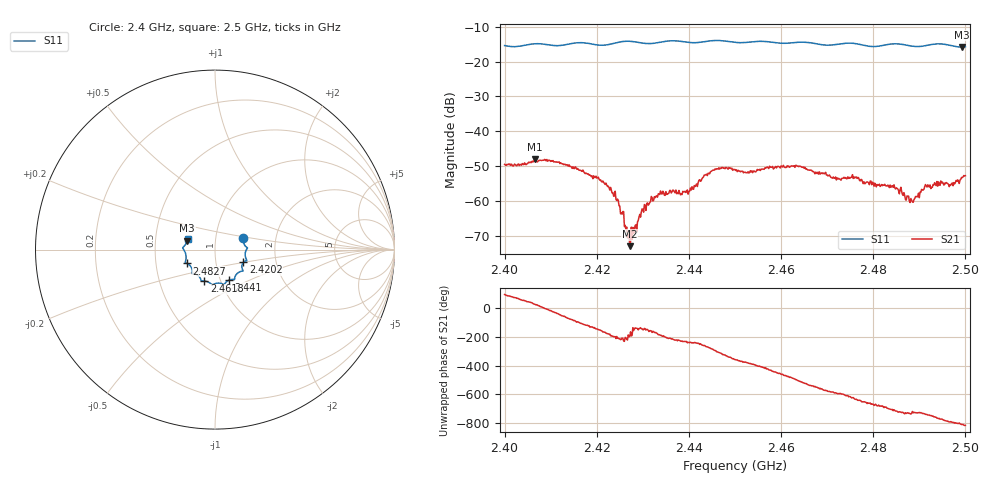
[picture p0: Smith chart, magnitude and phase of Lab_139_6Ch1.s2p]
# Hz S RI R 50
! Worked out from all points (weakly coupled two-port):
!   601 points, 2.4 GHz to 2.5 GHz, reference 50 ohm
!   highest |S21| = -48.04 dB at 2.4065 GHz (marker M1); lowest = -73.0 dB at 2.4272 GHz (marker M2)
!   lowest |S11| = -15.8 dB at 2.4992 GHz (marker M3), VSWR 1.39, Z = 36.5 + j3.66 ohm
!   |S11| at or under -10 dB: start of sweep to end of sweep
!   S12 and S22 are empty: the file has one direction only
!   S11 on the Smith chart (normalised r, x): 2.4 GHz: 1.36, +0.18; 2.4202 GHz: 1.36, -0.20; 2.441 GHz: 1.10, -0.39; 2.4618 GHz: 0.84, -0.30; 2.4827 GHz: 0.72, -0.12; 2.5 GHz: 0.73, +0.09
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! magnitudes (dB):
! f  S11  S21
! 2.4 GHz  -15.4  -49.5
! 2.4065 GHz  -14.9  -48.0
! 2.41 GHz  -15.3  -48.6
! 2.4167 GHz  -14.6  -51.4
! 2.4202 GHz  -15.2  -53.4
! 2.4243 GHz  -14.5  -59.9
! 2.4272 GHz  -14.2  -73.0
! 2.43 GHz  -14.7  -62.4
! 2.4333 GHz  -14.5  -58.0
! 2.441 GHz  -14.6  -56.7
! 2.4455 GHz  -13.9  -51.2
! 2.45 GHz  -14.5  -51.0
! 2.4527 GHz  -14.5  -51.9
! 2.4618 GHz  -14.6  -50.3
! 2.4667 GHz  -14.6  -51.2
! 2.4827 GHz  -15.2  -55.6
! 2.4833 GHz  -15.0  -55.6
! 2.4883 GHz  -15.5  -59.8
! 2.4915 GHz  -15.4  -55.6
! 2.4968 GHz  -15.4  -55.5
! 2.4992 GHz  -15.8  -53.2
! 2.5 GHz  -15.7  -52.8
